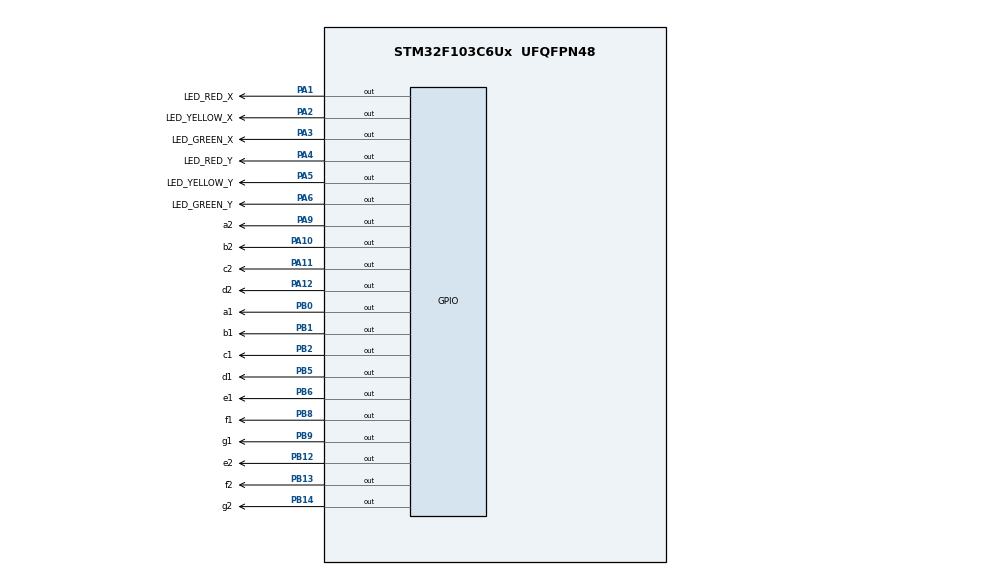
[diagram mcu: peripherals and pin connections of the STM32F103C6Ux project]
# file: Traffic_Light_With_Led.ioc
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Mcu.Family=STM32F1
Mcu.Name=STM32F103C6Ux
Mcu.Package=UFQFPN48
NVIC.PriorityGroup=NVIC_PRIORITYGROUP_4
PA1.GPIO_Label=LED_RED_X
PA1.Signal=GPIO_Output
PA10.GPIO_Label=b2
PA10.Signal=GPIO_Output
PA11.GPIO_Label=c2
PA11.Signal=GPIO_Output
PA12.GPIO_Label=d2
PA12.Signal=GPIO_Output
PA2.GPIO_Label=LED_YELLOW_X
PA2.Signal=GPIO_Output
PA3.GPIO_Label=LED_GREEN_X
PA3.Signal=GPIO_Output
PA4.GPIO_Label=LED_RED_Y
PA4.Signal=GPIO_Output
PA5.GPIO_Label=LED_YELLOW_Y
PA5.Signal=GPIO_Output
PA6.GPIO_Label=LED_GREEN_Y
PA6.Signal=GPIO_Output
PA9.GPIO_Label=a2
PA9.Signal=GPIO_Output
PB0.GPIO_Label=a1
PB0.Signal=GPIO_Output
PB1.GPIO_Label=b1
PB1.Signal=GPIO_Output
PB12.GPIO_Label=e2
PB12.Signal=GPIO_Output
PB13.GPIO_Label=f2
PB13.Signal=GPIO_Output
PB14.GPIO_Label=g2
PB14.Signal=GPIO_Output
PB2.GPIO_Label=c1
PB2.Signal=GPIO_Output
PB5.GPIO_Label=d1
PB5.Signal=GPIO_Output
PB6.GPIO_Label=e1
PB6.Signal=GPIO_Output
PB8.GPIO_Label=f1
PB8.Signal=GPIO_Output
PB9.GPIO_Label=g1
PB9.Signal=GPIO_Output
ProjectManager.HeapSize=0x200
ProjectManager.StackSize=0x400
ProjectManager.TargetToolchain=STM32CubeIDE
RCC.APB1Freq_Value=8000000
RCC.APB2Freq_Value=8000000
VP_SYS_VS_ND.Mode=No_Debug
board=custom

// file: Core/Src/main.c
/* USER CODE BEGIN Header */
/**
  ******************************************************************************
  * @file           : main.c
  * @brief          : Main program body
  ******************************************************************************
  * @attention
  *
  * <h2><center>&copy; Copyright (c) 2022 STMicroelectronics.
  * All rights reserved.</center></h2>
  *
  * This software component is licensed by ST under BSD 3-Clause license,
  * the "License"; You may not use this file except in compliance with the
  * License. You may obtain a copy of the License at:
  *                        opensource.org/licenses/BSD-3-Clause
  *
  ******************************************************************************
  */
/* USER CODE END Header */
#include "main.h"

void SystemClock_Config(void);
static void MX_GPIO_Init(void);

int main(void)
{

  /* MCU Configuration--------------------------------------------------------*/

  /* Reset of all peripherals, Initializes the Flash interface and the Systick. */
  HAL_Init();

  /* Configure the system clock */
  SystemClock_Config();

  /* Initialize all configured peripherals */
  MX_GPIO_Init();

  /* Infinite loop */
  /* USER CODE BEGIN WHILE */
  void display7SEG(int num, char axis){
  	if(num == 0){
  		if(axis == 'x'){
  		HAL_GPIO_WritePin(a1_GPIO_Port, a1_Pin, RESET);
  		HAL_GPIO_WritePin(b1_GPIO_Port, b1_Pin, RESET);
  		HAL_GPIO_WritePin(c1_GPIO_Port, c1_Pin, RESET);
  		HAL_GPIO_WritePin(d1_GPIO_Port, d1_Pin, RESET);
  		HAL_GPIO_WritePin(e1_GPIO_Port, e1_Pin, RESET);
  		HAL_GPIO_WritePin(f1_GPIO_Port, f1_Pin, RESET);
  		HAL_GPIO_WritePin(g1_GPIO_Port, g1_Pin, SET);
  		}
  		else if(axis == 'y'){
  	  	HAL_GPIO_WritePin(a2_GPIO_Port, a2_Pin, RESET);
  	  	HAL_GPIO_WritePin(b2_GPIO_Port, b2_Pin, RESET);
  	  	HAL_GPIO_WritePin(c2_GPIO_Port, c2_Pin, RESET);
  	  	HAL_GPIO_WritePin(d2_GPIO_Port, d2_Pin, RESET);
  	  	HAL_GPIO_WritePin(e2_GPIO_Port, e2_Pin, RESET);
  	  	HAL_GPIO_WritePin(f2_GPIO_Port, f2_Pin, RESET);
  	  	HAL_GPIO_WritePin(g2_GPIO_Port, g2_Pin, SET);
  		}
  	}
  	else if(num == 1){
  		if(axis == 'x'){
  		HAL_GPIO_WritePin(a1_GPIO_Port, a1_Pin, SET);
  		HAL_GPIO_WritePin(b1_GPIO_Port, b1_Pin, RESET);
  		HAL_GPIO_WritePin(c1_GPIO_Port, c1_Pin, RESET);
  		HAL_GPIO_WritePin(d1_GPIO_Port, d1_Pin, SET);
  		HAL_GPIO_WritePin(e1_GPIO_Port, e1_Pin, SET);
  		HAL_GPIO_WritePin(f1_GPIO_Port, f1_Pin, SET);
  		HAL_GPIO_WritePin(g1_GPIO_Port, g1_Pin, SET);
  		}
  		else if(axis == 'y'){
  	  	HAL_GPIO_WritePin(a2_GPIO_Port, a2_Pin, SET);
  	  	HAL_GPIO_WritePin(b2_GPIO_Port, b2_Pin, RESET);
  	  	HAL_GPIO_WritePin(c2_GPIO_Port, c2_Pin, RESET);
  	  	HAL_GPIO_WritePin(d2_GPIO_Port, d2_Pin, SET);
  	  	HAL_GPIO_WritePin(e2_GPIO_Port, e2_Pin, SET);
  	  	HAL_GPIO_WritePin(f2_GPIO_Port, f2_Pin, SET);
  	  	HAL_GPIO_WritePin(g2_GPIO_Port, g2_Pin, SET);
  		}
  	}
  	else if(num == 2){
  		if(axis == 'x'){
  		HAL_GPIO_WritePin(a1_GPIO_Port, a1_Pin, RESET);
  		HAL_GPIO_WritePin(b1_GPIO_Port, b1_Pin, RESET);
  		HAL_GPIO_WritePin(c1_GPIO_Port, c1_Pin, SET);
  		HAL_GPIO_WritePin(d1_GPIO_Port, d1_Pin, RESET);
  		HAL_GPIO_WritePin(e1_GPIO_Port, e1_Pin, RESET);
  		HAL_GPIO_WritePin(f1_GPIO_Port, f1_Pin, SET);
  		HAL_GPIO_WritePin(g1_GPIO_Port, g1_Pin, RESET);
  		}
  		else if(axis == 'y'){
  	  	HAL_GPIO_WritePin(a2_GPIO_Port, a2_Pin, RESET);
  	  	HAL_GPIO_WritePin(b2_GPIO_Port, b2_Pin, RESET);
  	  	HAL_GPIO_WritePin(c2_GPIO_Port, c2_Pin, SET);
  	  	HAL_GPIO_WritePin(d2_GPIO_Port, d2_Pin, RESET);
  	  	HAL_GPIO_WritePin(e2_GPIO_Port, e2_Pin, RESET);
  	  	HAL_GPIO_WritePin(f2_GPIO_Port, f2_Pin, SET);
  	  	HAL_GPIO_WritePin(g2_GPIO_Port, g2_Pin, RESET);
  		}
  	}
  	else if(num == 3){
  		if(axis == 'x'){
  		HAL_GPIO_WritePin(a1_GPIO_Port, a1_Pin, RESET);
  		HAL_GPIO_WritePin(b1_GPIO_Port, b1_Pin, RESET);
  		HAL_GPIO_WritePin(c1_GPIO_Port, c1_Pin, RESET);
  		HAL_GPIO_WritePin(d1_GPIO_Port, d1_Pin, RESET);
  		HAL_GPIO_WritePin(e1_GPIO_Port, e1_Pin, SET);
  		HAL_GPIO_WritePin(f1_GPIO_Port, f1_Pin, SET);
  		HAL_GPIO_WritePin(g1_GPIO_Port, g1_Pin, RESET);
  		}
  		else if(axis == 'y'){
  	  	HAL_GPIO_WritePin(a2_GPIO_Port, a2_Pin, RESET);
  	  	HAL_GPIO_WritePin(b2_GPIO_Port, b2_Pin, RESET);
  	  	HAL_GPIO_WritePin(c2_GPIO_Port, c2_Pin, RESET);
  	  	HAL_GPIO_WritePin(d2_GPIO_Port, d2_Pin, RESET);
  	  	HAL_GPIO_WritePin(e2_GPIO_Port, e2_Pin, SET);
  	  	HAL_GPIO_WritePin(f2_GPIO_Port, f2_Pin, SET);
  	  	HAL_GPIO_WritePin(g2_GPIO_Port, g2_Pin, RESET);
  		}
  	}
  	else if(num == 4){
  		if(axis == 'x'){
  		HAL_GPIO_WritePin(a1_GPIO_Port, a1_Pin, SET);
  		HAL_GPIO_WritePin(b1_GPIO_Port, b1_Pin, RESET);
  		HAL_GPIO_WritePin(c1_GPIO_Port, c1_Pin, RESET);
  		HAL_GPIO_WritePin(d1_GPIO_Port, d1_Pin, SET);
  		HAL_GPIO_WritePin(e1_GPIO_Port, e1_Pin, SET);
  		HAL_GPIO_WritePin(f1_GPIO_Port, f1_Pin, RESET);
  		HAL_GPIO_WritePin(g1_GPIO_Port, g1_Pin, RESET);
  		}
  		else if(axis == 'y'){
  	  	HAL_GPIO_WritePin(a2_GPIO_Port, a2_Pin, SET);
  	  	HAL_GPIO_WritePin(b2_GPIO_Port, b2_Pin, RESET);
  	  	HAL_GPIO_WritePin(c2_GPIO_Port, c2_Pin, RESET);
  	  	HAL_GPIO_WritePin(d2_GPIO_Port, d2_Pin, SET);
  	  	HAL_GPIO_WritePin(e2_GPIO_Port, e2_Pin, SET);
  	  	HAL_GPIO_WritePin(f2_GPIO_Port, f2_Pin, RESET);
  	  	HAL_GPIO_WritePin(g2_GPIO_Port, g2_Pin, RESET);
  		}
  	}
  	else if(num == 5){
  		if(axis == 'x'){
  		HAL_GPIO_WritePin(a1_GPIO_Port, a1_Pin, RESET);
  		HAL_GPIO_WritePin(b1_GPIO_Port, b1_Pin, SET);
  		HAL_GPIO_WritePin(c1_GPIO_Port, c1_Pin, RESET);
  		HAL_GPIO_WritePin(d1_GPIO_Port, d1_Pin, RESET);
  		HAL_GPIO_WritePin(e1_GPIO_Port, e1_Pin, SET);
  		HAL_GPIO_WritePin(f1_GPIO_Port, f1_Pin, RESET);
  		HAL_GPIO_WritePin(g1_GPIO_Port, g1_Pin, RESET);
  		}
  		else if(axis == 'y'){
  	  	HAL_GPIO_WritePin(a2_GPIO_Port, a2_Pin, RESET);
  	  	HAL_GPIO_WritePin(b2_GPIO_Port, b2_Pin, SET);
  	 	HAL_GPIO_WritePin(c2_GPIO_Port, c2_Pin, RESET);
  	  	HAL_GPIO_WritePin(d2_GPIO_Port, d2_Pin, RESET);
  	  	HAL_GPIO_WritePin(e2_GPIO_Port, e2_Pin, SET);
  	  	HAL_GPIO_WritePin(f2_GPIO_Port, f2_Pin, RESET);
  	  	HAL_GPIO_WritePin(g2_GPIO_Port, g2_Pin, RESET);
  		}
  	}
  	else if(num == 6){
  		if(axis == 'x'){
  		HAL_GPIO_WritePin(a1_GPIO_Port, a1_Pin, RESET);
  		HAL_GPIO_WritePin(b1_GPIO_Port, b1_Pin, SET);
  		HAL_GPIO_WritePin(c1_GPIO_Port, c1_Pin, RESET);
  		HAL_GPIO_WritePin(d1_GPIO_Port, d1_Pin, RESET);
  		HAL_GPIO_WritePin(e1_GPIO_Port, e1_Pin, RESET);
  		HAL_GPIO_WritePin(f1_GPIO_Port, f1_Pin, RESET);
  		HAL_GPIO_WritePin(g1_GPIO_Port, g1_Pin, RESET);
  		}
  		else if(axis == 'y'){
  	  	HAL_GPIO_WritePin(a2_GPIO_Port, a2_Pin, RESET);
  	  	HAL_GPIO_WritePin(b2_GPIO_Port, b2_Pin, SET);
  	  	HAL_GPIO_WritePin(c2_GPIO_Port, c2_Pin, RESET);
  	  	HAL_GPIO_WritePin(d2_GPIO_Port, d2_Pin, RESET);
  	  	HAL_GPIO_WritePin(e2_GPIO_Port, e2_Pin, RESET);
  	  	HAL_GPIO_WritePin(f2_GPIO_Port, f2_Pin, RESET);
  	  	HAL_GPIO_WritePin(g2_GPIO_Port, g2_Pin, RESET);
  		}
  	}
  	else if(num == 7){
  		if(axis == 'x'){
  		HAL_GPIO_WritePin(a1_GPIO_Port, a1_Pin, RESET);
  		HAL_GPIO_WritePin(b1_GPIO_Port, b1_Pin, RESET);
  		HAL_GPIO_WritePin(c1_GPIO_Port, c1_Pin, RESET);
  		HAL_GPIO_WritePin(d1_GPIO_Port, d1_Pin, SET);
  		HAL_GPIO_WritePin(e1_GPIO_Port, e1_Pin, SET);
  		HAL_GPIO_WritePin(f1_GPIO_Port, f1_Pin, SET);
  		HAL_GPIO_WritePin(g1_GPIO_Port, g1_Pin, SET);
  		}
  		else if(axis == 'y'){
  	  	HAL_GPIO_WritePin(a2_GPIO_Port, a2_Pin, RESET);
  	  	HAL_GPIO_WritePin(b2_GPIO_Port, b2_Pin, RESET);
  	  	HAL_GPIO_WritePin(c2_GPIO_Port, c2_Pin, RESET);
  	  	HAL_GPIO_WritePin(d2_GPIO_Port, d2_Pin, SET);
  	  	HAL_GPIO_WritePin(e2_GPIO_Port, e2_Pin, SET);
  	  	HAL_GPIO_WritePin(f2_GPIO_Port, f2_Pin, SET);
  	  	HAL_GPIO_WritePin(g2_GPIO_Port, g2_Pin, SET);
  		}
  	}
  	else if(num == 8){
  		if(axis == 'x'){
  		HAL_GPIO_WritePin(a1_GPIO_Port, a1_Pin, RESET);
  		HAL_GPIO_WritePin(b1_GPIO_Port, b1_Pin, RESET);
  		HAL_GPIO_WritePin(c1_GPIO_Port, c1_Pin, RESET);
  		HAL_GPIO_WritePin(d1_GPIO_Port, d1_Pin, RESET);
  		HAL_GPIO_WritePin(e1_GPIO_Port, e1_Pin, RESET);
  		HAL_GPIO_WritePin(f1_GPIO_Port, f1_Pin, RESET);
  		HAL_GPIO_WritePin(g1_GPIO_Port, g1_Pin, RESET);
  		}
  		else if(axis == 'y'){
  	  	HAL_GPIO_WritePin(a2_GPIO_Port, a2_Pin, RESET);
  	  	HAL_GPIO_WritePin(b2_GPIO_Port, b2_Pin, RESET);
  	  	HAL_GPIO_WritePin(c2_GPIO_Port, c2_Pin, RESET);
  	  	HAL_GPIO_WritePin(d2_GPIO_Port, d2_Pin, RESET);
  	  	HAL_GPIO_WritePin(e2_GPIO_Port, e2_Pin, RESET);
  	  	HAL_GPIO_WritePin(f2_GPIO_Port, f2_Pin, RESET);
  	  	HAL_GPIO_WritePin(g2_GPIO_Port, g2_Pin, RESET);
  		}
  	}
  	else if(num == 9){
  		if(axis == 'x'){
  		HAL_GPIO_WritePin(a1_GPIO_Port, a1_Pin, RESET);
  		HAL_GPIO_WritePin(b1_GPIO_Port, b1_Pin, RESET);
  		HAL_GPIO_WritePin(c1_GPIO_Port, c1_Pin, RESET);
  		HAL_GPIO_WritePin(d1_GPIO_Port, d1_Pin, RESET);
  		HAL_GPIO_WritePin(e1_GPIO_Port, e1_Pin, SET);
  		HAL_GPIO_WritePin(f1_GPIO_Port, f1_Pin, RESET);
  		HAL_GPIO_WritePin(g1_GPIO_Port, g1_Pin, RESET);
  		}
  		else if(axis == 'y'){
  	  	HAL_GPIO_WritePin(a2_GPIO_Port, a2_Pin, RESET);
  	  	HAL_GPIO_WritePin(b2_GPIO_Port, b2_Pin, RESET);
  	  	HAL_GPIO_WritePin(c2_GPIO_Port, c2_Pin, RESET);
  	  	HAL_GPIO_WritePin(d2_GPIO_Port, d2_Pin, RESET);
  	  	HAL_GPIO_WritePin(e2_GPIO_Port, e2_Pin, SET);
  	  	HAL_GPIO_WritePin(f2_GPIO_Port, f2_Pin, RESET);
  	  	HAL_GPIO_WritePin(g2_GPIO_Port, g2_Pin, RESET);
  		}
  	}
  }
  char led_status[2] = {'R', 'R'};
  int green_time[2] = {4, 4};
  int yellow_time[2] = {2, 2};
  while (1)
  {
	  if(led_status[0] != 'Y' && led_status[1] == 'R'){
		  	  display7SEG(green_time[0], 'x');
		  	  display7SEG(green_time[0] + yellow_time[0], 'y');
	 		  green_time[0]--;
	 		  if(green_time[0] == 0){
	 			  green_time[0] = 4;
	 			  led_status[0] = 'Y';
	 		  }
	 		  HAL_GPIO_WritePin(LED_YELLOW_Y_GPIO_Port, LED_YELLOW_Y_Pin, RESET);
	 		  HAL_GPIO_WritePin(LED_RED_X_GPIO_Port, LED_RED_X_Pin, RESET);
	 		  HAL_GPIO_WritePin(LED_GREEN_X_GPIO_Port, LED_GREEN_X_Pin, SET);
	 		  HAL_GPIO_WritePin(LED_RED_Y_GPIO_Port, LED_RED_Y_Pin, SET);
	 	  }
	 	  else if(led_status[0] == 'Y' && led_status[1] == 'R'){
		  	  display7SEG(yellow_time[0], 'x');
		  	  display7SEG(yellow_time[0], 'y');
	 		  yellow_time[0]--;
	 		  if(yellow_time[0] == 0){
	 			  yellow_time[0] = 2;
	 			  led_status[0] = 'R';
	 			  led_status[1] = 'G';
	 		  }
	 		  HAL_GPIO_WritePin(LED_GREEN_X_GPIO_Port, LED_GREEN_X_Pin, RESET);
	 		  HAL_GPIO_WritePin(LED_YELLOW_X_GPIO_Port, LED_YELLOW_X_Pin, SET);
	 	  }
	 	  else if(led_status[0] == 'R' && led_status[1] == 'G'){
		  	  display7SEG(green_time[1] + yellow_time[1], 'x');
		  	  display7SEG(green_time[1], 'y');
	 		  green_time[1]--;
	 		  if(green_time[1] == 0){
	 			  green_time[1] = 4;
	 			  led_status[1] = 'Y';
	 		  }
	 		  HAL_GPIO_WritePin(LED_YELLOW_X_GPIO_Port, LED_YELLOW_X_Pin, RESET);
	 		  HAL_GPIO_WritePin(LED_RED_X_GPIO_Port, LED_RED_X_Pin, SET);
	 		  HAL_GPIO_WritePin(LED_RED_Y_GPIO_Port, LED_RED_Y_Pin, RESET);
	 		  HAL_GPIO_WritePin(LED_GREEN_Y_GPIO_Port, LED_GREEN_Y_Pin, SET);
	 	  }
	 	  else if(led_status[0] == 'R' && led_status[1] == 'Y'){
		  	  display7SEG(yellow_time[1], 'x');
		  	  display7SEG(yellow_time[1], 'y');
	 		  yellow_time[1]--;
	 		  if(yellow_time[1] == 0){
	 			  yellow_time[1] = 2;
	 			  led_status[1] = 'R';
	 			  led_status[0] = 'G';
	 		  }
	 		  HAL_GPIO_WritePin(LED_GREEN_Y_GPIO_Port, LED_GREEN_Y_Pin, RESET);
	 		  HAL_GPIO_WritePin(LED_YELLOW_Y_GPIO_Port, LED_YELLOW_Y_Pin, SET);
	 	  }

	 HAL_Delay(1000);
    /* USER CODE END WHILE */

  }
}

void SystemClock_Config(void)
{
  RCC_OscInitTypeDef RCC_OscInitStruct = {0};
  RCC_ClkInitTypeDef RCC_ClkInitStruct = {0};

  /** Initializes the RCC Oscillators according to the specified parameters
  * in the RCC_OscInitTypeDef structure.
  */
  RCC_OscInitStruct.OscillatorType = RCC_OSCILLATORTYPE_HSI;
  RCC_OscInitStruct.HSIState = RCC_HSI_ON;
  RCC_OscInitStruct.HSICalibrationValue = RCC_HSICALIBRATION_DEFAULT;
  RCC_OscInitStruct.PLL.PLLState = RCC_PLL_NONE;
  if (HAL_RCC_OscConfig(&RCC_OscInitStruct) != HAL_OK)
  {
    Error_Handler();
  }
  /** Initializes the CPU, AHB and APB buses clocks
  */
  RCC_ClkInitStruct.ClockType = RCC_CLOCKTYPE_HCLK|RCC_CLOCKTYPE_SYSCLK
                              |RCC_CLOCKTYPE_PCLK1|RCC_CLOCKTYPE_PCLK2;
  RCC_ClkInitStruct.SYSCLKSource = RCC_SYSCLKSOURCE_HSI;
  RCC_ClkInitStruct.AHBCLKDivider = RCC_SYSCLK_DIV1;
  RCC_ClkInitStruct.APB1CLKDivider = RCC_HCLK_DIV1;
  RCC_ClkInitStruct.APB2CLKDivider = RCC_HCLK_DIV1;

  if (HAL_RCC_ClockConfig(&RCC_ClkInitStruct, FLASH_LATENCY_0) != HAL_OK)
  {
    Error_Handler();
  }
}

static void MX_GPIO_Init(void)
{
  GPIO_InitTypeDef GPIO_InitStruct = {0};

  /* GPIO Ports Clock Enable */
  __HAL_RCC_GPIOA_CLK_ENABLE();
  __HAL_RCC_GPIOB_CLK_ENABLE();

  /*Configure GPIO pin Output Level */
  HAL_GPIO_WritePin(GPIOA, LED_RED_X_Pin|LED_YELLOW_X_Pin|LED_GREEN_X_Pin|LED_RED_Y_Pin
                          |LED_YELLOW_Y_Pin|LED_GREEN_Y_Pin|a2_Pin|b2_Pin
                          |c2_Pin|d2_Pin, GPIO_PIN_RESET);

  /*Configure GPIO pin Output Level */
  HAL_GPIO_WritePin(GPIOB, a1_Pin|b1_Pin|c1_Pin|e2_Pin
                          |f2_Pin|g2_Pin|d1_Pin|e1_Pin
                          |f1_Pin|g1_Pin, GPIO_PIN_RESET);

  /*Configure GPIO pins : LED_RED_X_Pin LED_YELLOW_X_Pin LED_GREEN_X_Pin LED_RED_Y_Pin
                           LED_YELLOW_Y_Pin LED_GREEN_Y_Pin a2_Pin b2_Pin
                           c2_Pin d2_Pin */
  GPIO_InitStruct.Pin = LED_RED_X_Pin|LED_YELLOW_X_Pin|LED_GREEN_X_Pin|LED_RED_Y_Pin
                          |LED_YELLOW_Y_Pin|LED_GREEN_Y_Pin|a2_Pin|b2_Pin
                          |c2_Pin|d2_Pin;
  GPIO_InitStruct.Mode = GPIO_MODE_OUTPUT_PP;
  GPIO_InitStruct.Pull = GPIO_NOPULL;
  GPIO_InitStruct.Speed = GPIO_SPEED_FREQ_LOW;
  HAL_GPIO_Init(GPIOA, &GPIO_InitStruct);

  /*Configure GPIO pins : a1_Pin b1_Pin c1_Pin e2_Pin
                           f2_Pin g2_Pin d1_Pin e1_Pin
                           f1_Pin g1_Pin */
  GPIO_InitStruct.Pin = a1_Pin|b1_Pin|c1_Pin|e2_Pin
                          |f2_Pin|g2_Pin|d1_Pin|e1_Pin
                          |f1_Pin|g1_Pin;
  GPIO_InitStruct.Mode = GPIO_MODE_OUTPUT_PP;
  GPIO_InitStruct.Pull = GPIO_NOPULL;
  GPIO_InitStruct.Speed = GPIO_SPEED_FREQ_LOW;
  HAL_GPIO_Init(GPIOB, &GPIO_InitStruct);

}

void Error_Handler(void)
{
  __disable_irq();
  while (1)
  {
  }
}

/************************ (C) COPYRIGHT STMicroelectronics *****END OF FILE****/
